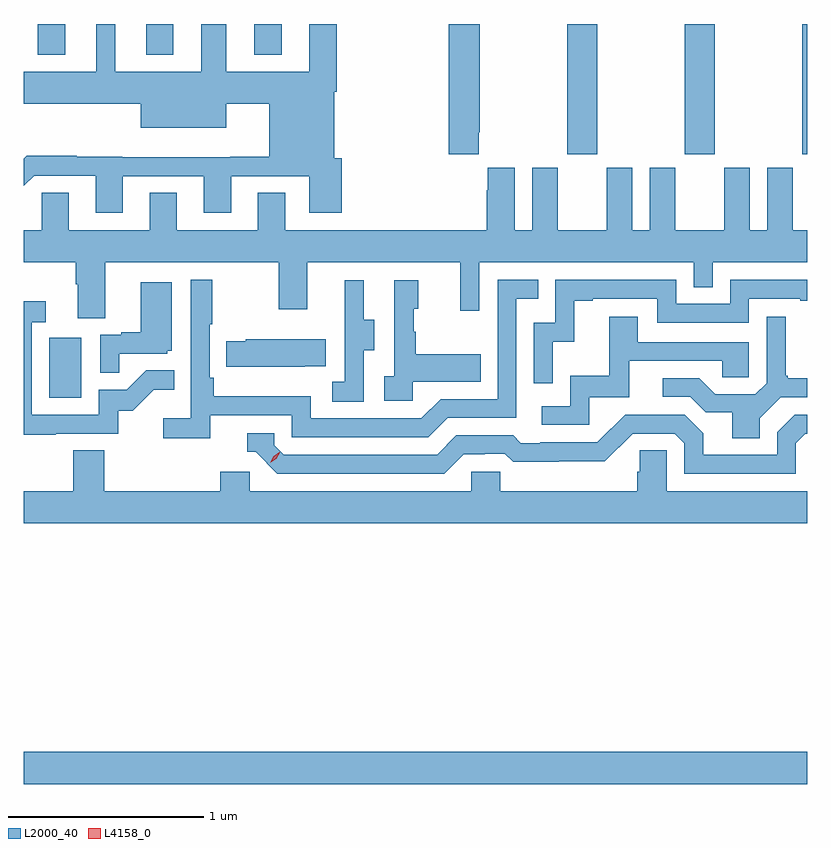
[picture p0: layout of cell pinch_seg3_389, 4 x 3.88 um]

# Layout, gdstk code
import gdstk
lib = gdstk.Library(unit=1e-6, precision=1e-09)
def R(c, l, rs):  # rectangles x0, y0, x1, y1
    for r in rs: c.add(gdstk.rectangle(r[:2], r[2:], *l))
def A(c, l, x, y, w, h, nx, ny, dx, dy):  # array of equal rectangles
    R(c, l, [(x+i*dx, y+j*dy, x+i*dx+w, y+j*dy+h) for i in range(nx) for j in range(ny)])
def P(c, l, *ps):  # polygons
    for p in ps: c.add(gdstk.Polygon(p, *l))
L2000_40 = (2000, 40)
L4158_0 = (4158, 0)

pinch_seg3_389 = lib.new_cell('pinch_seg3_389')
A(pinch_seg3_389, L2000_40, 935.159, 708.635, 0.14, 0.158, 3, 1, 0.552, 0)
R(pinch_seg3_389, L2000_40, [(935.087,704.912,939.087,705.076), (935.216,706.884,935.38,707.191), (937.861,708.129,938.016,708.793), (938.461,708.129,938.616,708.793), (939.061,708.129,939.087,708.793)])
P(pinch_seg3_389, L2000_40, [(935.593,708.015),(936.005,708.015),(936.005,707.829),(936.145,707.829),(936.145,708.015),(936.545,708.015),(936.545,707.829),(936.71,707.829),(936.71,708.108),(936.673,708.108),(936.673,708.446),(936.686,708.446),(936.686,708.793),(936.545,708.793),(936.545,708.55),(936.121,708.55),(936.121,708.793),(935.993,708.793),(935.993,708.55),(935.554,708.55),(935.554,708.793),(935.456,708.793),(935.456,708.55),(935.087,708.55),(935.087,708.386),(935.684,708.386),(935.684,708.263),(936.121,708.263),(936.121,708.386),(936.341,708.386),(936.341,708.116),(936.141,708.116),(936.141,708.112),(935.589,708.112),(935.589,708.116),(935.357,708.116),(935.357,708.119),(935.102,708.119),(935.087,708.104),(935.087,707.966),(935.139,708.018),(935.453,708.018),(935.453,707.829),(935.593,707.829)],
  [(937.411,708.241),(937.416,708.241),(937.416,708.793),(937.256,708.793),(937.256,708.129),(937.411,708.129)],
  [(935.503,707.576),(936.388,707.576),(936.388,707.337),(936.535,707.337),(936.535,707.576),(937.316,707.576),(937.316,707.328),(937.413,707.328),(937.413,707.576),(938.508,707.576),(938.508,707.449),(938.604,707.449),(938.604,707.576),(939.087,707.576),(939.087,707.74),(939.013,707.74),(939.013,708.058),(938.882,708.058),(938.882,707.74),(938.794,707.74),(938.794,708.058),(938.663,708.058),(938.663,707.74),(938.413,707.74),(938.413,708.058),(938.282,708.058),(938.282,707.74),(938.194,707.74),(938.194,708.058),(938.063,708.058),(938.063,707.74),(937.813,707.74),(937.813,708.058),(937.682,708.058),(937.682,707.74),(937.594,707.74),(937.594,708.058),(937.457,708.058),(937.457,707.945),(937.451,707.945),(937.451,707.74),(936.421,707.74),(936.421,707.93),(936.281,707.93),(936.281,707.74),(935.869,707.74),(935.869,707.93),(935.729,707.93),(935.729,707.74),(935.317,707.74),(935.317,707.93),(935.178,707.93),(935.178,707.74),(935.087,707.74),(935.087,707.576),(935.351,707.576),(935.351,707.464),(935.363,707.464),(935.363,707.29),(935.503,707.29)],
  [(936.038,706.794),(936.456,706.794),(936.456,706.683),(937.153,706.683),(937.252,706.782),(937.602,706.782),(937.602,707.391),(937.715,707.391),(937.715,707.487),(937.506,707.487),(937.506,706.878),(937.215,706.878),(937.116,706.779),(936.552,706.779),(936.552,706.891),(936.056,706.891),(936.056,706.987),(936.036,706.987),(936.036,707.26),(936.049,707.26),(936.049,707.488),(935.94,707.488),(935.94,706.78),(935.799,706.78),(935.799,706.678),(936.038,706.678)],
  [(937.788,707.171),(937.898,707.171),(937.898,707.379),(937.993,707.379),(937.993,707.391),(938.322,707.391),(938.322,707.268),(938.79,707.268),(938.79,707.391),(939.053,707.391),(939.053,707.379),(939.087,707.379),(939.087,707.487),(938.694,707.487),(938.694,707.364),(938.418,707.364),(938.418,707.487),(937.8,707.487),(937.8,707.268),(937.692,707.268),(937.692,706.959),(937.788,706.959)],
  [(936.822,707.128),(936.877,707.128),(936.877,707.283),(936.823,707.283),(936.823,707.485),(936.725,707.485),(936.725,707.271),(936.726,707.271),(936.726,706.967),(936.663,706.967),(936.663,706.864),(936.822,706.864)],
  [(937.074,706.967),(937.421,706.967),(937.421,707.107),(937.087,707.107),(937.087,707.222),(937.077,707.222),(937.077,707.34),(937.102,707.34),(937.102,707.485),(936.978,707.485),(936.978,706.994),(936.927,706.994),(936.927,706.869),(937.074,706.869)],
  [(935.573,707.109),(935.82,707.109),(935.82,707.124),(935.842,707.124),(935.842,707.473),(935.684,707.473),(935.684,707.218),(935.585,707.218),(935.585,707.205),(935.478,707.205),(935.478,707.011),(935.573,707.011)],
  [(935.249,706.701),(935.568,706.701),(935.568,706.818),(935.644,706.818),(935.751,706.925),(935.855,706.925),(935.855,707.024),(935.711,707.024),(935.613,706.926),(935.469,706.926),(935.469,706.797),(935.127,706.797),(935.127,707.271),(935.2,707.271),(935.2,707.377),(935.087,707.377),(935.087,706.696),(935.249,706.696)],
  [(938.845,706.78),(938.952,706.887),(939.087,706.887),(939.087,706.984),(938.989,706.984),(938.989,706.996),(938.977,706.996),(938.977,707.299),(938.88,707.299),(938.88,706.959),(938.823,706.902),(938.617,706.902),(938.536,706.983),(938.349,706.983),(938.349,706.89),(938.49,706.89),(938.57,706.81),(938.705,706.81),(938.705,706.678),(938.845,706.678)],
  [(937.974,706.887),(938.179,706.887),(938.179,707.073),(938.653,707.073),(938.653,706.989),(938.79,706.989),(938.79,707.169),(938.221,707.169),(938.221,707.299),(938.077,707.299),(938.077,706.996),(937.878,706.996),(937.878,706.842),(937.731,706.842),(937.731,706.746),(937.974,706.746)],
  [(936.521,707.045),(936.629,707.045),(936.629,707.182),(936.219,707.182),(936.219,707.172),(936.121,707.172),(936.121,707.042),(936.521,707.042)],
  [(937.333,706.596),(937.44,706.596),(937.44,706.599),(937.543,706.599),(937.585,706.557),(937.818,706.557),(937.818,706.559),(938.054,706.559),(938.196,706.701),(938.412,706.701),(938.46,706.653),(938.46,706.497),(939.03,706.497),(939.03,706.653),(939.078,706.701),(939.087,706.701),(939.087,706.797),(939.024,706.797),(938.934,706.707),(938.934,706.593),(938.557,706.593),(938.557,706.703),(938.463,706.797),(938.157,706.797),(938.016,706.656),(937.723,706.656),(937.723,706.653),(937.624,706.653),(937.585,706.692),(937.296,706.692),(937.197,706.593),(936.414,706.593),(936.366,706.641),(936.366,706.704),(936.227,706.704),(936.227,706.608),(936.27,706.608),(936.381,706.497),(937.234,706.497)],
  [(939.087,706.408),(938.37,706.408),(938.37,706.616),(938.233,706.616),(938.233,706.506),(938.219,706.506),(938.219,706.408),(937.521,706.408),(937.521,706.506),(937.371,706.506),(937.371,706.408),(936.24,706.408),(936.24,706.506),(936.089,706.506),(936.089,706.408),(935.498,706.408),(935.498,706.616),(935.338,706.616),(935.338,706.408),(935.087,706.408),(935.087,706.244),(939.087,706.244)])
P(pinch_seg3_389, L4158_0, [(936.346,706.552),(936.346,706.552),(936.362,706.585),(936.392,706.605),(936.393,706.605),(936.393,706.604),(936.377,706.572),(936.346,706.552)])

lib.write_gds('pinch_seg3_389.gds')
